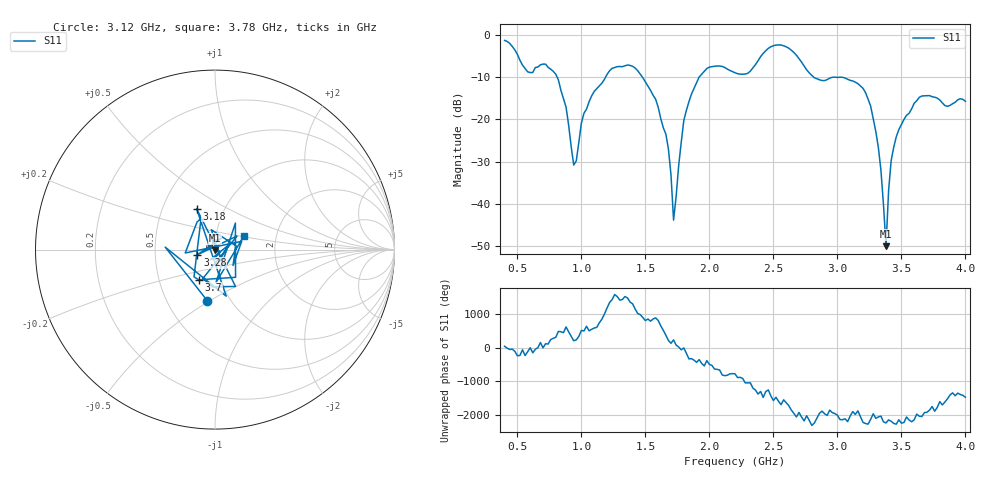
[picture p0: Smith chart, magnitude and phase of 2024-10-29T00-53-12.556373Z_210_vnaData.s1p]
!Created with skrf (http://scikit-rf.org).
# Hz S RI R 50.0
!freq ReS11 ImS11
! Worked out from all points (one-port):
!   181 points, 400 MHz to 4 GHz, reference 50 ohm
!   lowest |S11| = -50.1 dB at 3.38 GHz (marker M1), VSWR 1.01, Z = 50.1 - j0.305 ohm
!   |S11| at or under -10 dB: 811.3 MHz to 1.188 GHz (376.4 MHz wide, 37.7 % of centre); 1.478 GHz to 1.918 GHz (440.4 MHz wide, 25.9 % of centre); 3.044 GHz to end of sweep (the widest 3 of 4)
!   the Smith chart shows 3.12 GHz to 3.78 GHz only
!   S11 on the Smith chart (normalised r, x): 3.12 GHz: 0.78, -0.48; 3.18 GHz: 0.74, +0.36; 3.28 GHz: 0.82, -0.05; 3.7 GHz: 0.79, -0.28; 3.78 GHz: 1.37, +0.22
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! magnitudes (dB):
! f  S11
! 400 MHz  -1.2
! 580 MHz  -8.7
! 780 MHz  -8.5
! 860 MHz  -15.1
! 940 MHz  -30.8
! 1.08 GHz  -14.4
! 1.3 GHz  -7.4
! 1.58 GHz  -15.2
! 1.68 GHz  -27.0
! 1.72 GHz  -43.9
! 1.76 GHz  -30.9
! 1.8 GHz  -20.2
! 1.92 GHz  -9.9
! 2.2 GHz  -8.9
! 2.5 GHz  -2.5
! 2.66 GHz  -4.1
! 2.82 GHz  -10.1
! 3.1 GHz  -10.7
! 3.12 GHz  -10.8
! 3.18 GHz  -12.0
! 3.28 GHz  -19.8
! 3.34 GHz  -32.0
! 3.38 GHz  -50.1
! 3.42 GHz  -29.8
! 3.56 GHz  -18.5
! 3.7 GHz  -14.4
! 3.78 GHz  -14.9
! 4 GHz  -15.7
